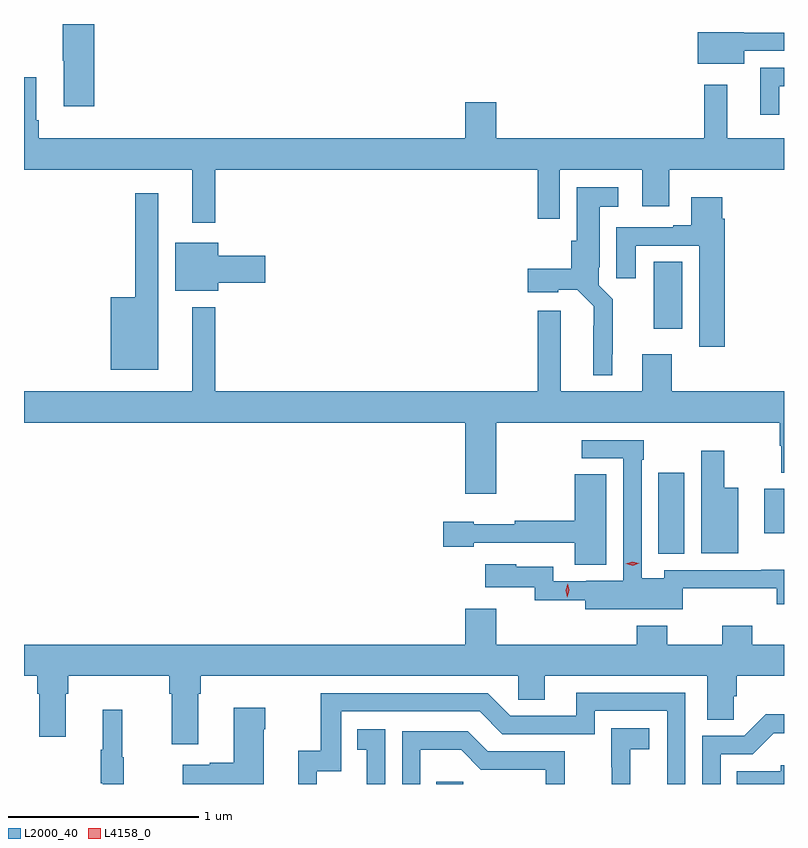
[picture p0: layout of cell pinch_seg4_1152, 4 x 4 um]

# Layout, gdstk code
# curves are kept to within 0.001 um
import gdstk
lib = gdstk.Library(unit=1e-6, precision=1e-09)
def R(c, l, rs):  # rectangles x0, y0, x1, y1
    for r in rs: c.add(gdstk.rectangle(r[:2], r[2:], *l))
def P(c, l, *ps):  # polygons
    for p in ps: c.add(gdstk.Polygon(p, *l))
L2000_40 = (2000, 40)
L4158_0 = (4158, 0)

pinch_seg4_1152 = lib.new_cell('pinch_seg4_1152')
R(pinch_seg4_1152, L2000_40, [(416.605,770.942,416.745,770.955), (417.773,772.153,417.91,772.579), (418.331,772.262,418.434,772.495), (417.749,773.337,417.898,773.69)])
P(pinch_seg4_1152, L2000_40, [(414.803,774.942),(414.637,774.942),(414.637,774.748),(414.644,774.748),(414.644,774.51),(414.803,774.51)],
  [(418.225,774.801),(418.434,774.801),(418.434,774.897),(418.221,774.897),(418.221,774.898),(417.98,774.898),(417.98,774.734),(418.225,774.734)],
  [(418.408,774.615),(418.434,774.615),(418.434,774.711),(418.31,774.711),(418.31,774.465),(418.408,774.465)],
  [(415.441,774.176),(417.139,774.176),(417.139,773.916),(417.255,773.916),(417.255,774.176),(417.689,774.176),(417.689,773.982),(417.829,773.982),(417.829,774.176),(418.434,774.176),(418.434,774.34),(418.135,774.34),(418.135,774.622),(418.014,774.622),(418.014,774.34),(416.92,774.34),(416.92,774.529),(416.756,774.529),(416.756,774.34),(414.512,774.34),(414.512,774.436),(414.499,774.436),(414.499,774.661),(414.434,774.661),(414.434,774.176),(415.319,774.176),(415.319,773.895),(415.441,773.895)],
  [(417.529,773.203),(417.533,773.203),(417.533,773.494),(417.459,773.568),(417.459,773.662),(417.463,773.662),(417.463,773.981),(417.562,773.981),(417.562,774.082),(417.344,774.082),(417.344,773.802),(417.314,773.802),(417.314,773.653),(417.084,773.653),(417.084,773.531),(417.246,773.531),(417.246,773.543),(417.345,773.543),(417.432,773.456),(417.431,773.093),(417.529,773.093)],
  [(415.141,774.052),(415.02,774.052),(415.02,773.503),(414.89,773.503),(414.89,773.123),(415.141,773.123)],
  [(418.121,773.918),(418.108,773.918),(418.108,774.031),(417.947,774.031),(417.947,773.884),(417.851,773.884),(417.851,773.871),(417.551,773.871),(417.551,773.604),(417.655,773.604),(417.655,773.775),(417.989,773.775),(417.989,773.244),(418.121,773.244)],
  [(415.456,773.579),(415.705,773.579),(415.705,773.721),(415.456,773.721),(415.456,773.791),(415.229,773.791),(415.229,773.537),(415.456,773.537)],
  [(417.689,773.203),(417.689,773.008),(417.259,773.008),(417.259,773.434),(417.137,773.434),(417.137,773.008),(415.441,773.008),(415.441,773.452),(415.319,773.452),(415.319,773.008),(414.434,773.008),(414.434,772.844),(416.756,772.844),(416.756,772.47),(416.92,772.47),(416.92,772.844),(418.411,772.844),(418.411,772.721),(418.419,772.721),(418.419,772.581),(418.434,772.581),(418.434,773.008),(417.842,773.008),(417.842,773.203)],
  [(417.9,771.971),(418.397,771.971),(418.397,771.888),(418.434,771.888),(418.434,772.07),(418.313,772.07),(418.313,772.068),(417.804,772.068),(417.804,772.024),(417.684,772.024),(417.684,772.649),(417.697,772.649),(417.697,772.752),(417.369,772.752),(417.369,772.656),(417.588,772.656),(417.588,772.012),(417.393,772.012),(417.393,772.008),(417.219,772.008),(417.219,772.086),(417.024,772.086),(417.024,772.099),(416.862,772.099),(416.862,771.977),(417.123,771.977),(417.123,771.91),(417.389,771.91),(417.389,771.863),(417.9,771.863)],
  [(418.192,772.501),(418.12,772.501),(418.12,772.696),(417.998,772.696),(417.998,772.157),(418.192,772.157)],
  [(417.499,772.571),(417.332,772.571),(417.332,772.328),(417.016,772.328),(417.016,772.309),(416.802,772.309),(416.802,772.321),(416.64,772.321),(416.64,772.192),(416.802,772.192),(416.802,772.212),(417.332,772.212),(417.332,772.097),(417.499,772.097)],
  [(415.351,771.416),(415.364,771.416),(415.364,771.512),(417.036,771.512),(417.036,771.385),(417.175,771.385),(417.175,771.512),(418.031,771.512),(418.031,771.28),(418.17,771.28),(418.17,771.403),(418.184,771.403),(418.184,771.512),(418.434,771.512),(418.434,771.676),(418.268,771.676),(418.268,771.775),(418.108,771.775),(418.108,771.676),(417.819,771.676),(417.819,771.775),(417.659,771.775),(417.659,771.676),(416.92,771.676),(416.92,771.865),(416.756,771.865),(416.756,771.676),(414.434,771.676),(414.434,771.512),(414.503,771.512),(414.503,771.416),(414.515,771.416),(414.515,771.192),(414.655,771.192),(414.655,771.416),(414.668,771.416),(414.668,771.512),(415.199,771.512),(415.199,771.416),(415.211,771.416),(415.211,771.15),(415.351,771.15)],
  [(415.974,771.009),(416.103,771.009),(416.103,771.324),(416.832,771.324),(416.952,771.204),(417.438,771.204),(417.438,771.327),(417.819,771.327),(417.819,770.942),(417.915,770.942),(417.915,771.423),(417.341,771.423),(417.341,771.3),(416.994,771.3),(416.874,771.42),(415.995,771.42),(415.995,771.118),(415.877,771.118),(415.877,770.942),(415.974,770.942)],
  [(415.696,771.23),(415.704,771.23),(415.704,771.343),(415.538,771.343),(415.538,771.053),(415.412,771.053),(415.412,771.043),(415.269,771.043),(415.269,770.942),(415.696,770.942)],
  [(414.958,771.084),(414.95,771.084),(414.95,771.334),(414.848,771.334),(414.848,771.121),(414.837,771.121),(414.837,770.947),(414.848,770.947),(414.848,770.942),(414.958,770.942)],
  [(418.101,771.099),(418.27,771.099),(418.381,771.21),(418.434,771.21),(418.434,771.308),(418.337,771.308),(418.224,771.195),(418.005,771.195),(418.005,770.942),(418.101,770.942)],
  [(417.626,771.125),(417.724,771.125),(417.724,771.235),(417.526,771.235),(417.526,771.029),(417.527,771.029),(417.527,770.942),(417.626,770.942)],
  [(416.334,771.229),(416.188,771.229),(416.188,771.123),(416.237,771.123),(416.237,770.942),(416.334,770.942)],
  [(416.52,771.122),(416.734,771.122),(416.838,771.018),(417.18,771.018),(417.18,770.942),(417.279,770.942),(417.279,771.114),(416.875,771.114),(416.77,771.219),(416.424,771.219),(416.424,770.942),(416.52,770.942)],
  [(418.434,771.042),(418.417,771.042),(418.417,771.01),(418.186,771.01),(418.186,770.942),(418.434,770.942)])
P(pinch_seg4_1152, L4158_0, [(417.293,771.925),(417.293,771.925),(417.284,771.961),(417.295,771.997),(417.295,771.997),(417.296,771.997),(417.304,771.961),(417.293,771.925)],
  [(417.637,772.092),(417.602,772.1),(417.601,772.101),(417.602,772.101),(417.636,772.112),(417.671,772.103),(417.671,772.103),(417.671,772.103)])

lib.write_gds('pinch_seg4_1152.gds')
